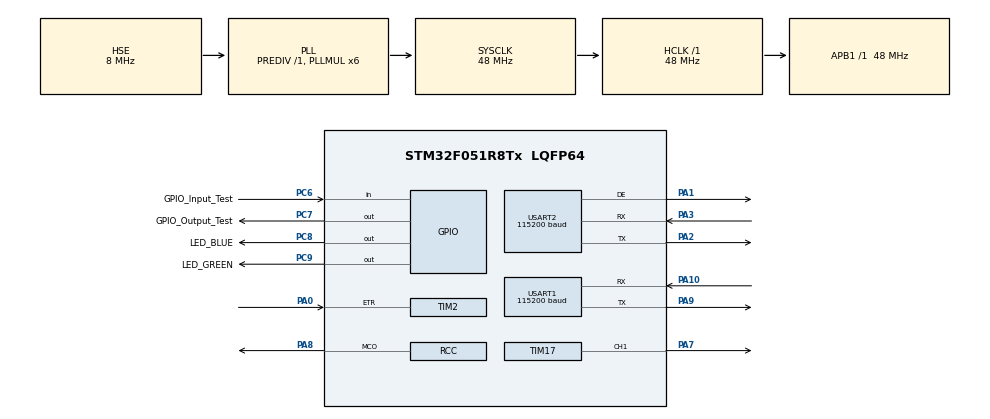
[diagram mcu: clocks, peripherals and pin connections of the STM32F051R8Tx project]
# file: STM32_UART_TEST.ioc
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Mcu.Family=STM32F0
Mcu.Name=STM32F051R8Tx
Mcu.Package=LQFP64
NVIC.TIM17_IRQn=true\:0\:0\:false\:false\:true\:true\:true
NVIC.TIM1_BRK_UP_TRG_COM_IRQn=true\:3\:0\:true\:false\:true\:true\:true
NVIC.TIM1_CC_IRQn=true\:3\:0\:true\:false\:true\:true\:true
NVIC.TIM2_IRQn=true\:2\:0\:true\:false\:true\:true\:true
NVIC.TIM6_DAC_IRQn=true\:1\:0\:true\:false\:true\:true\:true
NVIC.USART1_IRQn=true\:0\:0\:false\:false\:true\:true\:true
PA0.Signal=S_TIM2_CH1_ETR
PA1.Mode=Hardware Flow Control (RS485)
PA1.Signal=USART2_DE
PA10.Mode=Asynchronous
PA10.Signal=USART1_RX
PA13.Mode=Serial_Wire
PA13.Signal=SYS_SWDIO
PA14.Mode=Serial_Wire
PA14.Signal=SYS_SWCLK
PA2.Mode=Asynchronous
PA2.Signal=USART2_TX
PA3.Mode=Asynchronous
PA3.Signal=USART2_RX
PA7.Signal=S_TIM17_CH1
PA8.GPIO_Speed=GPIO_SPEED_FREQ_HIGH
PA8.Mode=Clock-out
PA8.Signal=RCC_MCO
PA9.Mode=Asynchronous
PA9.Signal=USART1_TX
PC6.GPIO_Label=GPIO_Input_Test
PC6.GPIO_PuPd=GPIO_PULLDOWN
PC6.Signal=GPIO_Input
PC7.GPIO_Label=GPIO_Output_Test
PC7.Signal=GPIO_Output
PC8.GPIO_Label=LED_BLUE
PC8.GPIO_PuPd=GPIO_NOPULL
PC8.Signal=GPIO_Output
PC9.GPIO_Label=LED_GREEN
PC9.GPIO_PuPd=GPIO_NOPULL
PC9.Signal=GPIO_Output
PF0-OSC_IN.Mode=HSE-External-Clock-Source
PF0-OSC_IN.Signal=RCC_OSC_IN
ProjectManager.HeapSize=0x200
ProjectManager.StackSize=0x400
ProjectManager.TargetToolchain=MDK-ARM V5.27
RCC.AHBFreq_Value=48000000
RCC.APB1Freq_Value=48000000
RCC.APB1TimFreq_Value=48000000
RCC.HCLKFreq_Value=48000000
RCC.PLLMUL=RCC_PLL_MUL6
RCC.PLLSourceVirtual=RCC_PLLSOURCE_HSE
RCC.SYSCLKFreq_VALUE=48000000
RCC.SYSCLKSource=RCC_SYSCLKSOURCE_PLLCLK
SH.S_TIM17_CH1.0=TIM17_CH1,PWM Generation1 CH1
SH.S_TIM2_CH1_ETR.0=TIM2_ETR,ClockSourceETR_Mode2
TIM1.AutoReloadPreload=TIM_AUTORELOAD_PRELOAD_DISABLE
TIM1.Period=9999
TIM1.Prescaler=4799
TIM1.TIM_MasterOutputTrigger=TIM_TRGO_ENABLE
TIM1.TIM_MasterSlaveMode=TIM_MASTERSLAVEMODE_ENABLE
TIM17.Channel=TIM_CHANNEL_1
TIM17.Period=1999
TIM17.Prescaler=47
TIM17.Pulse=999
TIM2.Period=4294967295
TIM2.Prescaler=0
TIM2.TIM_MasterOutputTrigger=TIM_TRGO_UPDATE
TIM2.TIM_MasterSlaveMode=TIM_MASTERSLAVEMODE_DISABLE
TIM6.Period=9999
TIM6.Prescaler=1999
USART1.BaudRate=115200
USART1.VirtualMode-Asynchronous=VM_ASYNC
USART2.BaudRate=115200
USART2.VirtualMode-Asynchronous=VM_ASYNC
USART2.VirtualMode-Hardware\ Flow\ Control\ (RS485)=VM_ASYNC
VP_ADC_TempSens_Input.Mode=IN-TempSens
VP_TIM17_VS_ClockSourceINT.Mode=Enable_Timer
VP_TIM1_VS_ClockSourceINT.Mode=Internal
VP_TIM1_VS_OPM.Mode=OPM_bit
VP_TIM2_VS_ClockSourceITR.Mode=TriggerSource_ITR0
VP_TIM6_VS_ClockSourceINT.Mode=Enable_Timer
board=custom

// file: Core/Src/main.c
/* USER CODE BEGIN Header */
/**
  ******************************************************************************
  * @file           : main.c
  * @brief          : Main program body
  ******************************************************************************
  * @attention
  *
  * <h2><center>&copy; Copyright (c) 2020 STMicroelectronics.
  * All rights reserved.</center></h2>
  *
  * This software component is licensed by ST under BSD 3-Clause license,
  * the "License"; You may not use this file except in compliance with the
  * License. You may obtain a copy of the License at:
  *                        opensource.org/licenses/BSD-3-Clause
  *
  ******************************************************************************
  */
/* USER CODE END Header */
#include "main.h"
#include "adc.h"
#include "tim.h"
#include "usart.h"
#include "gpio.h"

/* USER CODE BEGIN Includes */
#include "string.h"
#include "stdint.h"
#include <stdio.h>
#include "logic_uart_hal.h"
//#include "logic_uart_hal.h"
/* USER CODE END Includes */

/* USER CODE BEGIN PTD */
#define BUFSIZE 7
//#define RX_BUFFER_SIZE (20)					///< Quantity buffer size Array
/* USER CODE END PTD */

/* USER CODE BEGIN PD */
char trans_str[64] = {0,};
uint16_t adc = 0;
uint32_t adc_flag = 0;					///< adc flag for callback tim1
uint8_t RX_Complete = 0;				///< RX_complete callback for uart_receive
uint8_t RX_DATA = 0;
//uint8_t RX_BUFFER[RX_BUFFER_SIZE] = {0,}; 	///< Local buffer for UART receive
/* USER CODE END PD */

/* USER CODE BEGIN PV */
uint8_t buff = 0;
uint8_t BUFF_TX[15] = {1,2,3,4,5};	///< Fot test
uint8_t BUFF_RX[15] = {0,};					///< Buff receive
uint32_t prev_freq;
uint8_t prev_led_status;

uint8_t rx_buff[BUFSIZE] = {0,};
uint16_t rx_buff_len;
/* USER CODE END PV */

void SystemClock_Config(void);

/* USER CODE BEGIN 0 */
//void HAL_UART_RxCpltCallback(UART_HandleTypeDef *huart)
//{
//	if (huart == &huart1)
//		{
//			HAL_GPIO_TogglePin(GPIOC, LED_BLUE_Pin|LED_GREEN_Pin);
//		}
//}

void HAL_TIM_PeriodElapsedCallback(TIM_HandleTypeDef *htim)
{
		if (htim == &htim6)
		{
			adc_flag = 1;
		}
		// htim1 = htim1
		// htim2 = htim2
		if(htim == &htim1)
		{
						uint32_t current_freq = __HAL_TIM_GET_COUNTER(&htim2); // значение в счётчике таймера №2

						//uint16_t count_secondary = __HAL_TIM_GET_COUNTER(&htim3); // значение в счётчике таймера №3
						//uint16_t arr = __HAL_TIM_GET_AUTORELOAD(&htim2); // значение переполнения таймера №2 (65535)
						//uint32_t freq = count_main;// + (count_secondary * arr) + count_secondary; // вычисляем

						///////////////////////// вывод инфы ///////////////////////////////
						char str[96] = {0,};
						snprintf(str, 96, "FREQUENCY: %.3f MHz | %.3f KHz | %lu Hz\n--------------------\n", (float)current_freq / 1000000.0, (float)current_freq / 1000.0, current_freq);

						// === Данное условие реализовано, чтобы всегда не выводить частоту, а только при изменении её === //
						if (prev_freq != current_freq)
						{
							HAL_UART_Transmit(&huart1, (uint8_t*)str, strlen(str), 1000);
							prev_freq = current_freq;
						}

//						if (HAL_GPIO_ReadPin(GPIO_Input_Test_GPIO_Port,GPIO_Input_Test_Pin))
//							HAL_UART_Transmit(&huart1,"LED ON \n", 9, 1000);
//						else
//							HAL_UART_Transmit(&huart1,"LED OFF \n", 10, 1000);
						//////////////// обнуляем счётчики и рестартуем таймер №1 /////////////////
						__HAL_TIM_SET_COUNTER(&htim2, 0x0000);
						//__HAL_TIM_SET_COUNTER(&htim3, 0x0000);

						//HAL_TIM_Base_Start_IT(&htim1); ///< !----Test  на работу без него
						__HAL_TIM_ENABLE(&htim1);
						//TIM1->CR1 |= TIM_CR1_CEN;				// Ручное включение таймера
		}
}
// void HAL_UART_RxCpltCallback(UART_HandleTypeDef *huart)
//{

//		if (huart == &huart1)
//		{
//			uint8_t *p_RX_BUFFER;						///< Pointer for RX Buffer
//			uint8_t rx_buffer_counter = 0;	///< Counter for number of receiving bits
//			p_RX_BUFFER = RX_BUFFER;				///< Point for 1st RX Buffer byte (Receive)
//
//			if (*p_RX_BUFFER != '\n')				///< "\n" = 0x0A; work according end of line
//			{
//				*p_RX_BUFFER == RX_BUFFER[rx_buffer_counter++];
//				p_RX_BUFFER++;
//			}
//			else
//			{
//				HAL_UART_Transmit(&huart1,(uint8_t*) RX_BUFFER,rx_buffer_counter,1000);
//				HAL_UART_Receive_IT(&huart1,RX_BUFFER,1);
//				rx_buffer_counter = 0;
//			}
//		}
//
//}
//void HAL_UART_RxCpltCallback(UART_HandleTypeDef *huart)
//{
//		if (huart == &huart1)
//		{
//			HAL_UART_Transmit(&huart1,(uint8_t*)BUFF_RX,5,1000);
//			HAL_UART_Receive_IT(&huart1,(uint8_t*)BUFF_RX,5);
//		}
//}

//void HAL_UART_ErrorCallback(UART_HandleTypeDef *huart)
//{
//	if (huart == &huart1)
//	{
//		HAL_UART_Transmit(&huart1,(uint8_t*)huart->ErrorCode,4,1000);
//	}
//}
/* USER CODE END 0 */

int main(void)
{

  /* MCU Configuration--------------------------------------------------------*/

  /* Reset of all peripherals, Initializes the Flash interface and the Systick. */
  HAL_Init();

  /* Configure the system clock */
  SystemClock_Config();

  /* Initialize all configured peripherals */
  MX_GPIO_Init();
  MX_USART1_UART_Init();
  MX_TIM1_Init();
  MX_ADC_Init();
  MX_TIM6_Init();
  MX_USART2_UART_Init();
  MX_TIM2_Init();
  MX_TIM17_Init();
  /* USER CODE BEGIN 2 */
	//__HAL_TIM_CLEAR_IT(&htim1, TIM_IT_UPDATE); // очищаем бит
	//HAL_TIM_Base_Start_IT(&htim1);									// Видимо был нужен для предыдущих тестов
	//HAL_TIM_Base_Start_IT(&htim6);									// Таймер с прерыванием в 1 сек.
	HAL_TIM_Base_Start_IT(&htim1);										// Таймер для расчета частоты ( отсчитываем 1 секунду)
	HAL_TIM_Base_Start(&htim2);												// Таймер работает в режиме захвата импульсов и подсчитываем количество положительных импульсов , приходящих на ETR2 сигнал (TIM2_ETR2)
	HAL_TIM_PWM_Start(&htim17,TIM_CHANNEL_1);		// Для генерирования PWM сигнала , базовая (500 Гц)

	//HAL_UART_ReceiverTimeout_Config(&huart1,10000);	// Вроде как настройки на timeout после принятия посылки
	//HAL_UART_EnableReceiverTimeout(&huart1);			// Вроде как активация timeout по приему, настроенному сверху

	//HAL_ADCEx_Calibration_Start(&hadc);
		//HAL_GPIO_WritePin(GPIOC, LED_BLUE_Pin, GPIO_PIN_SET);
		//HAL_GPIO_WritePin(GPIOC, LED_GREEN_Pin, GPIO_PIN_SET);
		HAL_UART_Receive_IT(&huart1,(uint8_t*)BUFF_RX,1);			///< Активация UART1 работы по приерывания и обработка по 1 байту
	HAL_GPIO_WritePin(GPIO_Output_Test_GPIO_Port, GPIO_Output_Test_Pin, GPIO_PIN_SET);
  /* USER CODE END 2 */

  /* Infinite loop */
	  while (1)
  {

    /* USER CODE BEGIN 3 */
	//HAL_UART_ProcessingMessage_Timeout(&huart1);
		//HAL_UART_Transmit(&huart1,(uint8_t*)BUFF_TX,5,1000);
//		if (adc_flag == 1)
//		{
//			HAL_ADC_Start(&hadc); // запускаем преобразование сигнала АЦП
//			HAL_ADC_PollForConversion(&hadc, 100); // ожидаем окончания преобразования
//			snprintf(trans_str, 63, "ADC %d\n", adc);
//			HAL_UART_Transmit(&huart1, (uint8_t*)trans_str, strlen(trans_str), 1000);
//		}
		//HAL_UART_Receive_DMA(&huart1, (uint8_t*)buff, 1);
			//HAL_GPIO_TogglePin(GPIOC, LED_BLUE_Pin);
			//HAL_GPIO_TogglePin(GPIOC, LED_GREEN_Pin);
		//	HAL_Delay(1000);
		/* USER CODE BEGIN 3 */
//		if (adc_flag == 1)
//		{
//			HAL_GPIO_TogglePin(GPIOC, LED_GREEN_Pin);
//			HAL_UART_Transmit(&huart1,(uint8_t*)BUFF_TX,5,1000);
//		}
//		adc_flag = 0;
//
//		if (RX_Complete == 1)
//		{
//			//huart1.gState = HAL_UART_STATE_READY;
//			HAL_UART_Transmit(&huart1,(uint8_t*)BUFF_RX,5,1000);
//			HAL_GPIO_TogglePin(GPIOC, LED_BLUE_Pin);
//			HAL_UART_Receive_IT(&huart1, (uint8_t*)&BUFF_RX, 5);
//			RX_Complete = 0;
//		}

  }
  /* USER CODE END 3 */
}

void SystemClock_Config(void)
{
  RCC_OscInitTypeDef RCC_OscInitStruct = {0};
  RCC_ClkInitTypeDef RCC_ClkInitStruct = {0};
  RCC_PeriphCLKInitTypeDef PeriphClkInit = {0};

  /** Initializes the RCC Oscillators according to the specified parameters
  * in the RCC_OscInitTypeDef structure.
  */
  RCC_OscInitStruct.OscillatorType = RCC_OSCILLATORTYPE_HSI14|RCC_OSCILLATORTYPE_HSE;
  RCC_OscInitStruct.HSEState = RCC_HSE_BYPASS;
  RCC_OscInitStruct.HSI14State = RCC_HSI14_ON;
  RCC_OscInitStruct.HSI14CalibrationValue = 16;
  RCC_OscInitStruct.PLL.PLLState = RCC_PLL_ON;
  RCC_OscInitStruct.PLL.PLLSource = RCC_PLLSOURCE_HSE;
  RCC_OscInitStruct.PLL.PLLMUL = RCC_PLL_MUL6;
  RCC_OscInitStruct.PLL.PREDIV = RCC_PREDIV_DIV1;
  if (HAL_RCC_OscConfig(&RCC_OscInitStruct) != HAL_OK)
  {
    Error_Handler();
  }
  /** Initializes the CPU, AHB and APB buses clocks
  */
  RCC_ClkInitStruct.ClockType = RCC_CLOCKTYPE_HCLK|RCC_CLOCKTYPE_SYSCLK
                              |RCC_CLOCKTYPE_PCLK1;
  RCC_ClkInitStruct.SYSCLKSource = RCC_SYSCLKSOURCE_PLLCLK;
  RCC_ClkInitStruct.AHBCLKDivider = RCC_SYSCLK_DIV1;
  RCC_ClkInitStruct.APB1CLKDivider = RCC_HCLK_DIV1;

  if (HAL_RCC_ClockConfig(&RCC_ClkInitStruct, FLASH_LATENCY_1) != HAL_OK)
  {
    Error_Handler();
  }
  PeriphClkInit.PeriphClockSelection = RCC_PERIPHCLK_USART1;
  PeriphClkInit.Usart1ClockSelection = RCC_USART1CLKSOURCE_PCLK1;
  if (HAL_RCCEx_PeriphCLKConfig(&PeriphClkInit) != HAL_OK)
  {
    Error_Handler();
  }
  HAL_RCC_MCOConfig(RCC_MCO, RCC_MCO1SOURCE_SYSCLK, RCC_MCODIV_1);
}

void Error_Handler(void)
{
}

/************************ (C) COPYRIGHT STMicroelectronics *****END OF FILE****/
